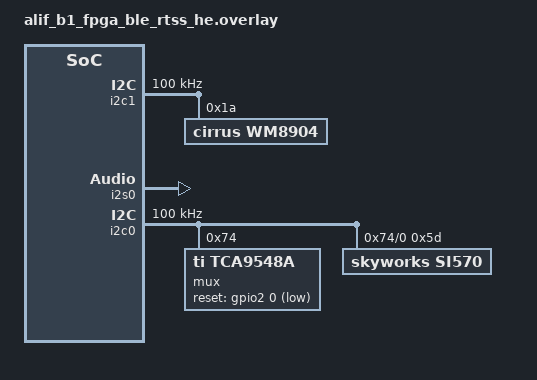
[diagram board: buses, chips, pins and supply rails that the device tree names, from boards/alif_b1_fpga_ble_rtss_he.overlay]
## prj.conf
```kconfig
# Copyright (C) 2023 Alif Semiconductor - All Rights Reserved.
# Use, distribution and modification of this code is permitted under the
# terms stated in the Alif Semiconductor Software License Agreement
#
# You should have received a copy of the Alif Semiconductor Software
# License Agreement with this file. If not, please write to:
# contact@alifsemi.com, or visit: https://alifsemi.com/license

CONFIG_USE_SEGGER_RTT=y
CONFIG_RTT_CONSOLE=y

CONFIG_LOG=y
CONFIG_ASSERT=y

CONFIG_I2C=y

CONFIG_WM8904=y
CONFIG_WM8904_LOG_LEVEL_DBG=y

CONFIG_SI570=y
CONFIG_SI570_LOG_LEVEL_DBG=y

CONFIG_I2C_INIT_PRIORITY=50
CONFIG_WM8904_INIT_PRIORITY=53

CONFIG_I2S=y
CONFIG_I2S_SYNC_LOG_LEVEL_INF=y
CONFIG_I2S_SYNC_BUFFER_FORMAT_SEQUENTIAL=n
CONFIG_DMA=y
```

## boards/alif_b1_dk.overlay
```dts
/* Copyright (C) Alif Semiconductor - All Rights Reserved.
 * Use, distribution and modification of this code is permitted under the
 * terms stated in the Alif Semiconductor Software License Agreement
 *
 * You should have received a copy of the Alif Semiconductor Software
 * License Agreement with this file. If not, please write to:
 * contact@alifsemi.com, or visit: https://alifsemi.com/license
 *
 */

#include <dt-bindings/pinctrl/balletto-pinctrl.h>
#include <dt-bindings/i2c/i2c.h>
#include <dt-bindings/gpio/gpio.h>

#define I2S0_IRQ_NUM  141
#define I2S0_IRQ_PRIO 3

#define I2S0_DMA_RX_CH  2
#define I2S0_DMA_RX_REQ 24
#define I2S0_DMA_TX_CH  3
#define I2S0_DMA_TX_REQ 28

#define AUDIO_DMA_ENABLED 1

/ {
	aliases {
		audio-codec = &wm8904;
		i2s-bus = &i2s0;
	};
};

&dma2 {
	status = "okay";
	dma-channels = <8>;
	interrupts = <0 3>, <1 3>, <2 3>, <3 3>, <4 3>, <5 3>,
		     <6 3>, <7 3>, <32 3>;
	interrupt-names = "channel0", "channel1",
			  "channel2", "channel3",
			  "channel4", "channel5",
			  "channel6", "channel7",
			  "abort";
};

&i2c1 {
	clock-frequency = <I2C_BITRATE_STANDARD>;
	status = "okay";

	wm8904: wm8904@1a {
		compatible = "cirrus,wm8904";
		reg = <0x1a>;
		status = "okay";
	};
};

#include <zephyr/dt-bindings/dma/alif_dma_event_router.h>

&evtrtr2 {
	status = "okay";
};

&i2s0 {
	/delete-property/ clock-frequency;
	/delete-property/ driver-instance;
	compatible = "alif,i2s-sync";
	interrupts = <I2S0_IRQ_NUM I2S0_IRQ_PRIO>;
	bit-depth = <16>;
	sample-rate = <48000>;
	status = "okay";
#if AUDIO_DMA_ENABLED
	/*
	 * Cell 0: ALIF_DMA_ENCODE(channel, dma_group, handshake)
	 *   - channel: Physical DMA channel (2 for RX, 3 for TX)
	 *   - dma_group: Input source selection (1) - selects which peripheral input
	 *   - handshake: Enable hardware handshaking (1 for I2S)
	 * Cell 1: Peripheral request number (24 for RX, 28 for TX)
	 */
	dmas = <&evtrtr2 ALIF_DMA_ENCODE(I2S0_DMA_RX_CH, 1, 1) I2S0_DMA_RX_REQ>,
	       <&evtrtr2 ALIF_DMA_ENCODE(I2S0_DMA_TX_CH, 1, 1) I2S0_DMA_TX_REQ>;
	dma-names = "rxdma", "txdma";
#endif
};

&pinctrl_i2c1 {
	group0 {
		pinmux = <PIN_P7_2__I2C1_SDA_C>,
			 <PIN_P7_3__I2C1_SCL_C>;
	};
};

&pinctrl_i2s0 {
	group0 {
		pinmux = <PIN_P2_4__I2S0_SDI_B>,
			 <PIN_P2_5__I2S0_SDO_B>,
			 <PIN_P1_7__I2S0_WS_A>,
			 <PIN_P1_6__I2S0_SCLK_A>;
	};
};

&uart2 {
	status = "okay";
	/delete-property/ pinctrl-1;
	pinctrl-names = "default";
};

/* Disable unnecessary nodes */
&i2s1 {
	status = "disabled";
};

&uart_ahi {
	status = "disabled";
};

&ieee802154 {
	status = "disabled";
};
&rng {
	status = "disabled";
};
```

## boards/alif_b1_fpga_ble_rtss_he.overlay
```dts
/* Copyright (C) 2023 Alif Semiconductor - All Rights Reserved.
 * Use, distribution and modification of this code is permitted under the
 * terms stated in the Alif Semiconductor Software License Agreement
 *
 * You should have received a copy of the Alif Semiconductor Software
 * License Agreement with this file. If not, please write to:
 * contact@alifsemi.com, or visit: https://alifsemi.com/license
 *
 */

#include <dt-bindings/pinctrl/balletto-pinctrl.h>
#include <dt-bindings/i2c/i2c.h>
#include <dt-bindings/gpio/gpio.h>

/ {
	aliases {
		audio-codec = &wm8904;
		i2s-bus = &i2s0;
	};

	soc {
		i2c1: i2c0@49011000 {
			compatible = "snps,designware-i2c";
			clock-frequency = <I2C_BITRATE_STANDARD>;
			#address-cells = <1>;
			#size-cells = <0>;
			reg = <0x49011000 0x1000>;
			pinctrl-0 = < &pinctrl_i2c1 >;
			pinctrl-names = "default";
			interrupt-parent = <&nvic>;
			interrupts = <133 3>;
			status = "okay";

			wm8904: wm8904@1a {
				compatible = "cirrus,wm8904";
				reg = <0x1a>;
				status = "okay";
			};
		};

		i2s0: i2s0@49014000 {
			compatible = "alif,i2s-sync";
			reg = <0x49014000 0x1000>;
			pinctrl-names = "default";
			pinctrl-0 = <&pinctrl_i2s0>;
			interrupts = <141 3>;
			bit-depth = <16>;
			sample-rate = <48000>;
			mono-mode;
			status = "okay";
		};

		i2c0: i2c0@49010000 {
			compatible = "snps,designware-i2c";
			clock-frequency = <I2C_BITRATE_STANDARD>;
			#address-cells = <1>;
			#size-cells = <0>;
			reg = <0x49010000 0x1000>;
			pinctrl-0 = < &pinctrl_i2c0 >;
			pinctrl-names = "default";
			interrupt-parent = <&nvic>;
			interrupts = <132 3>;
			status = "okay";

			mux: tca9548a@74 {
				compatible = "ti,tca9548a";
				reg = <0x74>;
				status = "okay";
				#address-cells = <1>;
				#size-cells = <0>;
				reset-gpios = <&gpio2 0 GPIO_ACTIVE_LOW>;

				ch0: mux_i2c@0 {
					compatible = "ti,tca9548a-channel";
					reg = <0>;
					status = "okay";
					#address-cells = <1>;
					#size-cells = <0>;

					si570: si570@5d {
						compatible = "skyworks,si570";
						reg = <0x5d>;
						factory-fout = <156250000>;
						initial-freq = <12288000>;
					};
				};
			};
		};
	};
};

&pinctrl {
	pinctrl_i2c1: pinctrl_i2c1 {
		group0 {
			/* Note: defined pinmux names are wrong so just setting numbers directly */
			pinmux = < PINMUX_PIN(PIN_P2_6, 3) >, /* I2C1 SCL */
				 	 < PINMUX_PIN(PIN_P2_7, 3) >; /* I2C1 SDA */
			read_enable = < 0x1 >;
		};
	};

	pinctrl_i2s0:pinctrl_i2s0 {
		group0 {
			/* Note: defined pinmux names are wrong so just setting numbers directly */
			pinmux = < PINMUX_PIN(PIN_P1_4, 2) >, /* I2S0 SDI A  */
				 	 < PINMUX_PIN(PIN_P1_5, 2) >, /* I2S0 SDO A  */
				 	 < PINMUX_PIN(PIN_P1_7, 3) >, /* I2S0 WS A   */
				 	 < PINMUX_PIN(PIN_P1_6, 3) >; /* I2S0 SCLK A */
		};
	};

	pinctrl_i2c0: pinctrl_i2c0 {
		group0 {
			pinmux = < PIN_P2_4__I2C0_SCL_B >,
				 	 < PIN_P2_5__I2C0_SDA_B >;
			read_enable = < 0x1 >;
		};
	};
};
```

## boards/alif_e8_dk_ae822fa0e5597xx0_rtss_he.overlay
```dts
/* Copyright (C) Alif Semiconductor - All Rights Reserved.
 * Use, distribution and modification of this code is permitted under the
 * terms stated in the Alif Semiconductor Software License Agreement
 *
 * You should have received a copy of the Alif Semiconductor Software
 * License Agreement with this file. If not, please write to:
 * contact@alifsemi.com, or visit: https://alifsemi.com/license
 *
 */

#include <dt-bindings/pinctrl/ensemble-e4-e6-e8-pinctrl.h>
#include <dt-bindings/i2c/i2c.h>
#include <dt-bindings/gpio/gpio.h>
#include <zephyr/dt-bindings/dma/alif_dma_event_router.h>

#define I2S3_IRQ_NUM  144
#define I2S3_IRQ_PRIO 3

#define I2S3_DMA_RX_CH  2
#define I2S3_DMA_RX_REQ 27
#define I2S3_DMA_TX_CH  3
#define I2S3_DMA_TX_REQ 31

#define AUDIO_DMA_ENABLED 1

/ {
	aliases {
		audio-codec = &wm8904;
		i2s-bus = &i2s3;
	};
};

&evtrtr0 {
	status = "okay";
};

&dma0 {
	status = "okay";
};

&i2c1 {
	clock-frequency = <I2C_BITRATE_STANDARD>;
	status = "okay";

	wm8904: wm8904@1a {
		compatible = "cirrus,wm8904";
		reg = <0x1a>;
		status = "okay";
	};
};

&i2s3 {
	/delete-property/ clock-frequency;
	/delete-property/ driver-instance;
	compatible = "alif,i2s-sync";
	interrupts = <I2S3_IRQ_NUM I2S3_IRQ_PRIO>;
	bit-depth = <16>;
	sample-rate = <48000>;
	status = "okay";
#if AUDIO_DMA_ENABLED
	dmas = <&evtrtr0 ALIF_DMA_ENCODE(I2S3_DMA_RX_CH, 1, 1) I2S3_DMA_RX_REQ>,
	       <&evtrtr0 ALIF_DMA_ENCODE(I2S3_DMA_TX_CH, 1, 1) I2S3_DMA_TX_REQ>;
	dma-names = "rxdma", "txdma";
#endif
};

&pinctrl_i2c1 {
	group0 {
		pinmux = <PIN_P7_2__I2C1_SDA_C>,
			 <PIN_P7_3__I2C1_SCL_C>;
	};
};

&pinctrl_i2s3 {
	group0 {
		pinmux = <PIN_P9_0__I2S3_SDI_B>,
			 <PIN_P9_3__I2S3_SDO_A>,
			 <PIN_P8_7__I2S3_WS_B>,
			 <PIN_P8_6__I2S3_SCLK_B>;
	};
};
```

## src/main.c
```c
/* Copyright (C) 2023 Alif Semiconductor - All Rights Reserved.
 * Use, distribution and modification of this code is permitted under the
 * terms stated in the Alif Semiconductor Software License Agreement
 *
 * You should have received a copy of the Alif Semiconductor Software
 * License Agreement with this file. If not, please write to:
 * contact@alifsemi.com, or visit: https://alifsemi.com/license
 */

#include <stdlib.h>
#include <zephyr/kernel.h>
#include <zephyr/logging/log.h>
#include <zephyr/sys/__assert.h>
#include <zephyr/device.h>
#include <zephyr/audio/codec.h>
#include <drivers/i2s_sync.h>

LOG_MODULE_REGISTER(main);

#define AUDIO_FRAME_LEN_MS   5
#define I2S_BLOCK_COUNT      8

#define CODEC_NODE DT_ALIAS(audio_codec)
static const struct device *codec_dev = DEVICE_DT_GET(CODEC_NODE);

#define I2S_NODE DT_ALIAS(i2s_bus)
static const struct device *i2s_dev = DEVICE_DT_GET(I2S_NODE);

static volatile uint32_t tx_ctr;
static volatile uint32_t rx_ctr;
static volatile uint32_t err_ctr;
static bool trigger_tx;
static struct k_mem_slab i2s_mem;
static uint8_t *i2s_mem_buffer;

K_MSGQ_DEFINE(i2s_msgq, sizeof(void *), I2S_BLOCK_COUNT, 1);

static void finish_rx(void *rx_block)
{
	if (rx_block == NULL) {
		LOG_ERR("No RX block to finish");
		return;
	}

	/* Push completed RX block to queue so it can be sent back out */
	int ret = k_msgq_put(&i2s_msgq, &rx_block, K_NO_WAIT);

	if (ret) {
		LOG_ERR("MSGQ put failed, err %d", ret);
	}
}

static void recv_next_block(const struct device *dev)
{
	void *rx_block = NULL;
	int ret = k_mem_slab_alloc(&i2s_mem, &rx_block, K_NO_WAIT);

	if (ret || !rx_block) {
		LOG_ERR("Could not allocate RX block");
		return;
	}

	i2s_sync_recv(dev, rx_block, i2s_mem.info.block_size);
}

static void send_next_block(const struct device *dev)
{
	void *tx_block = NULL;
	int ret = k_msgq_get(&i2s_msgq, &tx_block, K_NO_WAIT);

	if (ret || !tx_block) {
		trigger_tx = true;
		return;
	}

	i2s_sync_send(dev, tx_block, i2s_mem.info.block_size);
}

static void on_i2s_rx_complete(const struct device *dev,
			       enum i2s_sync_status status,
			       void *buffer)
{
	recv_next_block(dev);
	rx_ctr++;

	if (!buffer) {
		err_ctr++;
		goto trigger_tx;
	}

	if (status != I2S_SYNC_STATUS_OK) {
		err_ctr++;
		k_mem_slab_free(&i2s_mem, buffer);
		goto trigger_tx;
	}

	finish_rx(buffer);

trigger_tx:
	if (trigger_tx) {
		trigger_tx = false;
		send_next_block(dev);
	}
}

static void on_i2s_tx_complete(const struct device *dev,
			       enum i2s_sync_status status,
			       void *buffer)
{
	send_next_block(dev);
	tx_ctr++;

	if (buffer) {
		/* Free the completed TX block so it is available for RX */
		k_mem_slab_free(&i2s_mem, buffer);
	}

	if (status != I2S_SYNC_STATUS_OK) {
		err_ctr++;
	}
}

static int audio_memslab_allocate(uint32_t const sampling_freq,
				  uint32_t const channels,
				  uint32_t const sample_size)
{
	size_t block_size =
		sampling_freq * channels * (sample_size / 8) * AUDIO_FRAME_LEN_MS / 1000;

	if (!i2s_mem_buffer) {
		i2s_mem_buffer = malloc(block_size * I2S_BLOCK_COUNT);

		if (!i2s_mem_buffer) {
			LOG_ERR("Failed to allocate memory for I2S audio data");
			return -ENOMEM;
		}
	}

	/* Initialize mem slab for audio data */
	k_mem_slab_init(&i2s_mem, i2s_mem_buffer, block_size, I2S_BLOCK_COUNT);

	return 0;
}

int main(void)
{
	LOG_INF("I2S sync demo starting");

	if (!device_is_ready(codec_dev)) {
		LOG_ERR("WM8904 codec is not ready");
		return -1;
	}

	/* Stop codec output if started during init */
	audio_codec_stop_output(codec_dev);

	/* Configure codec */
	struct audio_codec_cfg codec_cfg = {
		.dai_type = AUDIO_DAI_TYPE_I2S,
		.dai_cfg = {
			.i2s = {
				.word_size = AUDIO_PCM_WIDTH_16_BITS,
				.channels = 2,
				.format = I2S_FMT_DATA_FORMAT_I2S,
				.options = 0,
				.frame_clk_freq = 48000,
				.mem_slab = NULL,
				.block_size = 0,
				.timeout = 0,
			},
		},
	};

	if (!device_is_ready(i2s_dev)) {
		LOG_ERR("I2S driver is not ready");
		return -1;
	}

	struct i2s_sync_config i2s_cfg;

	if (i2s_sync_get_config(i2s_dev, &i2s_cfg)) {
		LOG_ERR("Failed to get I2S config");
		return -EIO;
	}

	i2s_cfg.channel_count = codec_cfg.dai_cfg.i2s.channels;
	i2s_cfg.sample_rate = codec_cfg.dai_cfg.i2s.frame_clk_freq;
	i2s_cfg.bit_depth = codec_cfg.dai_cfg.i2s.word_size;

	if (i2s_sync_configure(i2s_dev, &i2s_cfg)) {
		LOG_ERR("Failed to configure I2S");
		return -EIO;
	}

	audio_codec_start_output(codec_dev);

	i2s_sync_register_cb(i2s_dev, I2S_DIR_RX, on_i2s_rx_complete);
	i2s_sync_register_cb(i2s_dev, I2S_DIR_TX, on_i2s_tx_complete);

	while (1) {
		/* Clear msgq and reset mem slab ready to start */
		k_msgq_purge(&i2s_msgq);
		audio_memslab_allocate(i2s_cfg.sample_rate, i2s_cfg.channel_count,
				       i2s_cfg.bit_depth);
		trigger_tx = true;

		/* Start receiving data on I2S interface */
		recv_next_block(i2s_dev);

		for (int i = 0; i < 6; i++) {
			k_sleep(K_SECONDS(5));
			LOG_INF("Blocks received %u, sent %u, errors %u", rx_ctr, tx_ctr, err_ctr);
		}

		/* Every 30 seconds, stop I2S for 5 seconds to demonstrate disable API */
		i2s_sync_disable(i2s_dev, I2S_DIR_BOTH);
		LOG_INF("Stopping I2S for 5 seconds");
		k_sleep(K_SECONDS(5));
		err_ctr = 0;
		tx_ctr = 0;
		rx_ctr = 0;
	}
}
```
